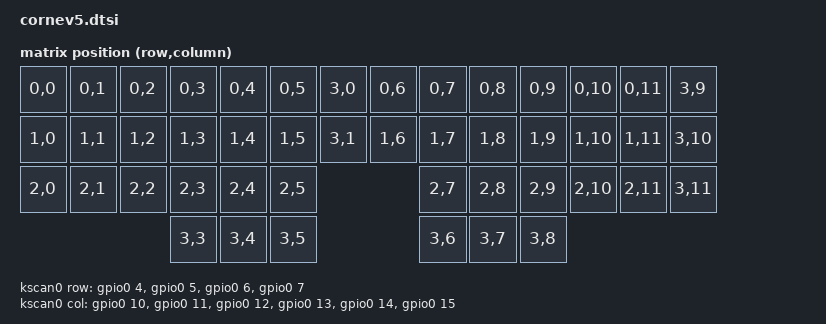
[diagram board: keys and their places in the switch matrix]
/*
 * Copyright (c) 2021 Darryl deHaan
 * SPDX-License-Identifier: MIT
 */

#include <dt-bindings/zmk/matrix_transform.h>
#include <dt-bindings/gpio/gpio.h>
#include "cornev5-layouts.dtsi"

/ {
    chosen {
        zmk,kscan = <&kscan0>;
        zmk,matrix-transform = <&default_transform>;
        zmk,physical-layout = <&cornev5_layout>;
    };

    kscan0: kscan_matrix {
        compatible = "zmk,kscan-gpio-matrix";
        status = "okay";
        wakeup-source;
        diode-direction = "col2row";
        row-gpios =
            <&gpio0 4 GPIO_ACTIVE_HIGH>,
            <&gpio0 5 GPIO_ACTIVE_HIGH>,
            <&gpio0 6 GPIO_ACTIVE_HIGH>,
            <&gpio0 7 GPIO_ACTIVE_HIGH>;
        col-gpios =
            <&gpio0 10 GPIO_ACTIVE_HIGH>,
            <&gpio0 11 GPIO_ACTIVE_HIGH>,
            <&gpio0 12 GPIO_ACTIVE_HIGH>,
            <&gpio0 13 GPIO_ACTIVE_HIGH>,
            <&gpio0 14 GPIO_ACTIVE_HIGH>,
            <&gpio0 15 GPIO_ACTIVE_HIGH>;
    };

    default_transform: matrix_transform {
        compatible = "zmk,matrix-transform";
        columns = <12>;
        rows = <4>;
        map = <
            RC(0,0)  RC(0,1)  RC(0,2)  RC(0,3)  RC(0,4)  RC(0,5)  RC(3,0)  RC(0,6)  RC(0,7)  RC(0,8)  RC(0,9)  RC(0,10) RC(0,11) RC(3,9)
            RC(1,0)  RC(1,1)  RC(1,2)  RC(1,3)  RC(1,4)  RC(1,5)  RC(3,1)  RC(1,6)  RC(1,7)  RC(1,8)  RC(1,9)  RC(1,10) RC(1,11) RC(3,10)
            RC(2,0)  RC(2,1)  RC(2,2)  RC(2,3)  RC(2,4)  RC(2,5)                    RC(2,7)  RC(2,8)  RC(2,9)  RC(2,10) RC(2,11) RC(3,11)
                                       RC(3,3)  RC(3,4)  RC(3,5)                    RC(3,6)  RC(3,7)  RC(3,8)
        >;
    };
};
